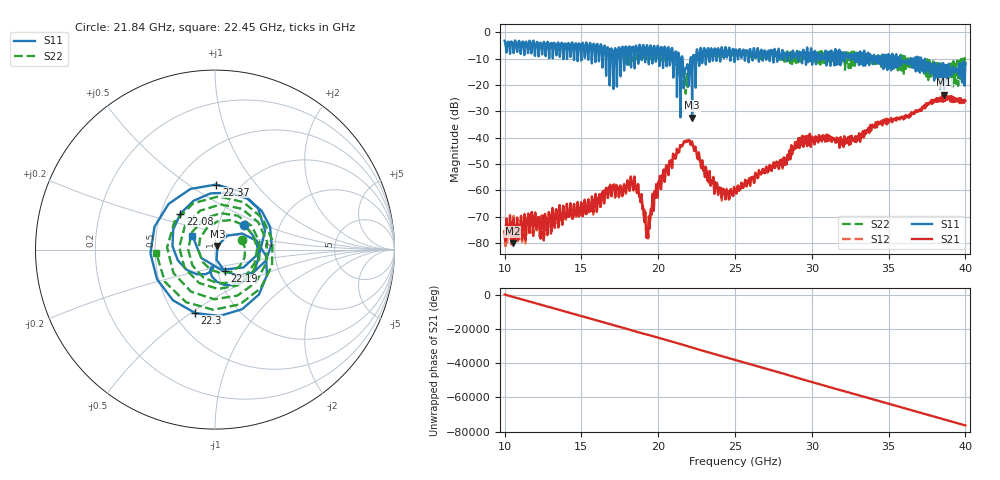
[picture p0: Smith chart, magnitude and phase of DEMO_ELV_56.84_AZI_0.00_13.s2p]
! 11/3/2026 12:52:31 PM
! C:\ANRITSUVNA\TEMP\TEMP.S2P
! CHANNEL.1
! TR.MEASUREMENT
! RAW.DATA
# HZ S RI R 50.0
! FREQ.HZ  S11RE  S11IM  S21RE  S21IM  S12RE  S12IM  S22RE  S22IM
!; PortSelection: Port_12
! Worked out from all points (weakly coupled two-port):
!   3001 points, 10 GHz to 40 GHz, reference 50 ohm
!   highest |S21| = -23.65 dB at 38.62 GHz (marker M1); lowest = -80.1 dB at 10.53 GHz (marker M2)
!   lowest |S11| = -32.3 dB at 22.21 GHz (marker M3), VSWR 1.05, Z = 51.3 + j2.06 ohm
!   |S11| at or under -10 dB: 21.59 GHz to 22.1 GHz (515.3 MHz wide, 2.36 % of centre); 35.78 GHz to 36.45 GHz (666.2 MHz wide, 1.84 % of centre); 37.12 GHz to end of sweep (the widest 3 of 109)
!   |S22| runs from -23.3 to -4.5 dB; largest |S21 - S12| = 0.081
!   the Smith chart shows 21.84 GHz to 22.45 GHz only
!   S11 on the Smith chart (normalised r, x): 21.84 GHz: 1.33, +0.38; 22.08 GHz: 0.63, +0.27; 22.19 GHz: 1.08, -0.27; 22.3 GHz: 0.63, -0.52; 22.37 GHz: 0.78, +0.65; 22.45 GHz: 0.77, +0.12
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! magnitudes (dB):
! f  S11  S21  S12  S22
! 10 GHz  -3.2  -75.5  -75.3  -4.7
! 10.53 GHz  -4.5  -80.1  -75.5  -4.9
! 15 GHz  -9.9  -65.2  -65.0  -6.4
! 16.96 GHz  -6.1  -62.1  -62.2  -6.9
! 18.34 GHz  -5.5  -58.4  -58.1  -11.7
! 18.8 GHz  -4.7  -61.8  -62.0  -8.5
! 19.33 GHz  -6.5  -76.3  -75.5  -7.3
! 20 GHz  -5.4  -57.9  -58.1  -7.4
! 21.84 GHz  -13.5  -41.2  -41.1  -16.0
! 22.08 GHz  -11.1  -42.1  -41.9  -14.8
! 22.19 GHz  -17.6  -41.4  -41.5  -14.0
! 22.21 GHz  -32.3  -41.7  -41.7  -12.7
! 22.3 GHz  -8.6  -43.8  -43.8  -11.4
! 22.37 GHz  -8.8  -44.5  -44.7  -10.0
! 22.45 GHz  -16.6  -44.4  -44.6  -9.7
! 23.78 GHz  -10.0  -58.6  -59.1  -9.4
! 25 GHz  -7.6  -60.2  -60.5  -8.3
! 30 GHz  -10.3  -39.6  -39.6  -8.0
! 33.02 GHz  -7.7  -40.4  -40.7  -9.1
! 35 GHz  -8.5  -33.9  -33.9  -11.0
! 38.62 GHz  -21.3  -23.7  -23.5  -16.8
! 40 GHz  -11.7  -26.1  -26.0  -12.3
